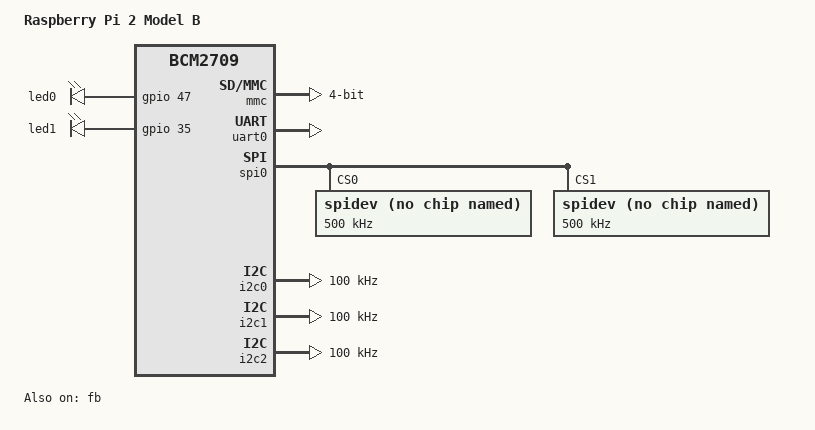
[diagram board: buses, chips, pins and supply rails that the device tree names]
/dts-v1/;

/include/ "bcm2709.dtsi"

/ {
	compatible = "brcm,bcm2709";
	model = "Raspberry Pi 2 Model B";
};

&gpio {
	spi0_pins: spi0_pins {
		brcm,pins = <7 8 9 10 11>;
		brcm,function = <4>; /* alt0 */
	};

	i2c0_pins: i2c0 {
		brcm,pins = <0 1>;
		brcm,function = <4>;
	};

	i2c1_pins: i2c1 {
		brcm,pins = <2 3>;
		brcm,function = <4>;
	};

	i2s_pins: i2s {
		brcm,pins = <18 19 20 21>;
		brcm,function = <6>; /* alt2 */
	};
};

&mmc {
	status = "okay";
	bus-width = <4>;
};

&fb {
	status = "okay";
};

&uart0 {
	status = "okay";
};

&spi0 {
	pinctrl-names = "default";
	pinctrl-0 = <&spi0_pins>;

	spidev@0{
		compatible = "spidev";
		reg = <0>;	/* CE0 */
		#address-cells = <1>;
		#size-cells = <0>;
		spi-max-frequency = <500000>;
	};

	spidev@1{
		compatible = "spidev";
		reg = <1>;	/* CE1 */
		#address-cells = <1>;
		#size-cells = <0>;
		spi-max-frequency = <500000>;
	};
};

&i2c0 {
	pinctrl-names = "default";
	pinctrl-0 = <&i2c0_pins>;
	clock-frequency = <100000>;
};

&i2c1 {
	pinctrl-names = "default";
	pinctrl-0 = <&i2c1_pins>;
	clock-frequency = <100000>;
};

&i2c2 {
	clock-frequency = <100000>;
};

&i2s {
	#sound-dai-cells = <0>;
	pinctrl-names = "default";
	pinctrl-0 = <&i2s_pins>;
};

&leds {
	act_led: act {
		label = "led0";
		linux,default-trigger = "mmc0";
		gpios = <&gpio 47 0>;
	};

	pwr_led: pwr {
		label = "led1";
		linux,default-trigger = "input";
		gpios = <&gpio 35 0>;
	};
};

/ {
	__overrides__ {
		uart0 = <&uart0>,"status";
		uart0_clkrate = <&clk_uart0>,"clock-frequency:0";
		uart1_clkrate = <&uart1>,"clock-frequency:0";
		i2s = <&i2s>,"status";
		spi = <&spi0>,"status";
		i2c0 = <&i2c0>,"status";
		i2c1 = <&i2c1>,"status";
		i2c2_iknowwhatimdoing = <&i2c2>,"status";
		i2c0_baudrate = <&i2c0>,"clock-frequency:0";
		i2c1_baudrate = <&i2c1>,"clock-frequency:0";
		i2c2_baudrate = <&i2c2>,"clock-frequency:0";
		core_freq = <&clk_core>,"clock-frequency:0";

		act_led_gpio = <&act_led>,"gpios:4";
		act_led_activelow = <&act_led>,"gpios:8";
		act_led_trigger = <&act_led>,"linux,default-trigger";

		pwr_led_gpio = <&pwr_led>,"gpios:4";
		pwr_led_activelow = <&pwr_led>,"gpios:8";
		pwr_led_trigger = <&pwr_led>,"linux,default-trigger";

		audio = <&audio>,"status";
		watchdog = <&watchdog>,"status";
		random = <&random>,"status";
	};
};
